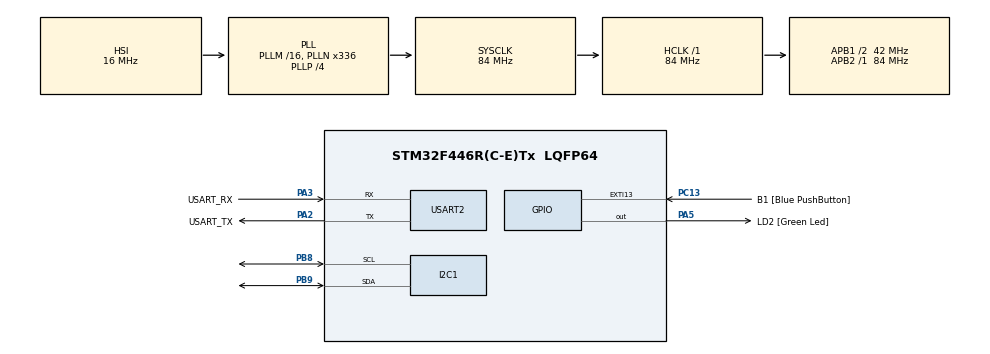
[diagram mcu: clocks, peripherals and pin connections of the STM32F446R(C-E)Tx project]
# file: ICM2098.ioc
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Mcu.Family=STM32F4
Mcu.Name=STM32F446R(C-E)Tx
Mcu.Package=LQFP64
NVIC.PriorityGroup=NVIC_PRIORITYGROUP_0
PA13.GPIO_Label=TMS
PA13.Mode=Serial_Wire
PA13.Signal=SYS_JTMS-SWDIO
PA14.GPIO_Label=TCK
PA14.Mode=Serial_Wire
PA14.Signal=SYS_JTCK-SWCLK
PA2.GPIO_Label=USART_TX
PA2.Mode=Asynchronous
PA2.Signal=USART2_TX
PA3.GPIO_Label=USART_RX
PA3.Mode=Asynchronous
PA3.Signal=USART2_RX
PA5.GPIO_Label=LD2 [Green Led]
PA5.Signal=GPIO_Output
PB3.GPIO_Label=SWO
PB3.Signal=SYS_JTDO-SWO
PB8.Mode=I2C
PB8.Signal=I2C1_SCL
PB9.Mode=I2C
PB9.Signal=I2C1_SDA
PC13.GPIO_Label=B1 [Blue PushButton]
PC13.GPIO_ModeDefaultEXTI=GPIO_MODE_IT_FALLING
PC13.Signal=GPXTI13
PC14-OSC32_IN.Mode=LSE-External-Oscillator
PC14-OSC32_IN.Signal=RCC_OSC32_IN
PC15-OSC32_OUT.Mode=LSE-External-Oscillator
PC15-OSC32_OUT.Signal=RCC_OSC32_OUT
PH0-OSC_IN.Mode=HSE-External-Oscillator
PH0-OSC_IN.Signal=RCC_OSC_IN
PH1-OSC_OUT.Mode=HSE-External-Oscillator
PH1-OSC_OUT.Signal=RCC_OSC_OUT
ProjectManager.HeapSize=0x200
ProjectManager.StackSize=0x400
ProjectManager.TargetToolchain=STM32CubeIDE
RCC.48MHZClocksFreq_Value=84000000
RCC.AHBFreq_Value=84000000
RCC.APB1CLKDivider=RCC_HCLK_DIV2
RCC.APB1Freq_Value=42000000
RCC.APB1TimFreq_Value=84000000
RCC.APB2Freq_Value=84000000
RCC.APB2TimFreq_Value=84000000
RCC.CortexFreq_Value=84000000
RCC.FLatency-AdvancedSettings=FLASH_LATENCY_2
RCC.HCLKFreq_Value=84000000
RCC.HSE_VALUE=8000000
RCC.HSI_VALUE=16000000
RCC.PLLN=336
RCC.PLLP=RCC_PLLP_DIV4
RCC.SYSCLKFreq_VALUE=84000000
RCC.SYSCLKSource=RCC_SYSCLKSOURCE_PLLCLK
RCC.USBFreq_Value=168000000
RCC.VCOOutputFreq_Value=336000000
USART2.VirtualMode=VM_ASYNC
board=NUCLEO-F446RE

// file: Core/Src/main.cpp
/* USER CODE BEGIN Header */
/**
  ******************************************************************************
  * @file           : main.c
  * @brief          : Main program body
  ******************************************************************************
  * @attention
  *
  * Copyright (c) 2025 STMicroelectronics.
  * All rights reserved.
  *
  * This software is licensed under terms that can be found in the LICENSE file
  * in the root directory of this software component.
  * If no LICENSE file comes with this software, it is provided AS-IS.
  *
  ******************************************************************************
  */
/* USER CODE END Header */
#include "main.h"

/* USER CODE BEGIN Includes */
#include "ICM2098.hpp"
#include <cstdio>
#include <string.h>
/* USER CODE END Includes */

I2C_HandleTypeDef hi2c1;

UART_HandleTypeDef huart2;

void SystemClock_Config(void);
static void MX_GPIO_Init(void);
static void MX_USART2_UART_Init(void);
static void MX_I2C1_Init(void);

int main(void)
{

  /* MCU Configuration--------------------------------------------------------*/

  /* Reset of all peripherals, Initializes the Flash interface and the Systick. */
  HAL_Init();

  /* Configure the system clock */
  SystemClock_Config();

  /* Initialize all configured peripherals */
  MX_GPIO_Init();
  MX_USART2_UART_Init();
  MX_I2C1_Init();
  /* USER CODE BEGIN 2 */
  char MSG[30];
  ICM2098 imu(&hi2c1, ICM2098_ADDR_AD0_HIGH);

  if (imu.init(true))
  {
	  snprintf(MSG, sizeof(MSG), "Init success");
	  HAL_UART_Transmit(&huart2, (uint8_t*)MSG, strlen(MSG), 100);
  }

  float acc[3], gyro[3];

  imu.setAccRange(FS_plus_minus_16G);
  /* USER CODE END 2 */

  /* Infinite loop */
  /* USER CODE BEGIN WHILE */
  while (1)
  {
	  imu.readAccel(&acc[0], &acc[1], &acc[2]);
	  imu.readGyro(&gyro[0], &gyro[1], &gyro[2]);

	  // ACC
	  snprintf(MSG, sizeof(MSG), "Accel X: %+05.3f °\r\n", acc[0]);
	  HAL_UART_Transmit(&huart2, (uint8_t*)MSG, strlen(MSG), 100);
	  snprintf(MSG, sizeof(MSG), "Accel Y: %+05.3f °\r\n", acc[1]);
	  HAL_UART_Transmit(&huart2, (uint8_t*)MSG, strlen(MSG), 100);
	  snprintf(MSG, sizeof(MSG), "Accel Z: %+05.3f °\r\n", acc[2]);
	  HAL_UART_Transmit(&huart2, (uint8_t*)MSG, strlen(MSG), 100);

	  // GYRO
	  snprintf(MSG, sizeof(MSG), "Gyro X: %+05.3f °\r\n", gyro[0]);
	  HAL_UART_Transmit(&huart2, (uint8_t*)MSG, strlen(MSG), 100);
	  snprintf(MSG, sizeof(MSG), "Gyro Y: %+05.3f °\r\n", gyro[1]);
	  HAL_UART_Transmit(&huart2, (uint8_t*)MSG, strlen(MSG), 100);
	  snprintf(MSG, sizeof(MSG), "Gyro Z: %+05.3f °\r\n", gyro[2]);
	  HAL_UART_Transmit(&huart2, (uint8_t*)MSG, strlen(MSG), 100);

	  HAL_Delay(100);

	  snprintf(MSG, sizeof(MSG), "\033[H\033[J"); // clear screen
	  HAL_UART_Transmit(&huart2, (uint8_t*)MSG, strlen(MSG), 100);

	  /* USER CODE END WHILE */

  }
}

void SystemClock_Config(void)
{
  RCC_OscInitTypeDef RCC_OscInitStruct = {0};
  RCC_ClkInitTypeDef RCC_ClkInitStruct = {0};

  /** Configure the main internal regulator output voltage
  */
  __HAL_RCC_PWR_CLK_ENABLE();
  __HAL_PWR_VOLTAGESCALING_CONFIG(PWR_REGULATOR_VOLTAGE_SCALE3);

  /** Initializes the RCC Oscillators according to the specified parameters
  * in the RCC_OscInitTypeDef structure.
  */
  RCC_OscInitStruct.OscillatorType = RCC_OSCILLATORTYPE_HSI;
  RCC_OscInitStruct.HSIState = RCC_HSI_ON;
  RCC_OscInitStruct.HSICalibrationValue = RCC_HSICALIBRATION_DEFAULT;
  RCC_OscInitStruct.PLL.PLLState = RCC_PLL_ON;
  RCC_OscInitStruct.PLL.PLLSource = RCC_PLLSOURCE_HSI;
  RCC_OscInitStruct.PLL.PLLM = 16;
  RCC_OscInitStruct.PLL.PLLN = 336;
  RCC_OscInitStruct.PLL.PLLP = RCC_PLLP_DIV4;
  RCC_OscInitStruct.PLL.PLLQ = 2;
  RCC_OscInitStruct.PLL.PLLR = 2;
  if (HAL_RCC_OscConfig(&RCC_OscInitStruct) != HAL_OK)
  {
    Error_Handler();
  }

  /** Initializes the CPU, AHB and APB buses clocks
  */
  RCC_ClkInitStruct.ClockType = RCC_CLOCKTYPE_HCLK|RCC_CLOCKTYPE_SYSCLK
                              |RCC_CLOCKTYPE_PCLK1|RCC_CLOCKTYPE_PCLK2;
  RCC_ClkInitStruct.SYSCLKSource = RCC_SYSCLKSOURCE_PLLCLK;
  RCC_ClkInitStruct.AHBCLKDivider = RCC_SYSCLK_DIV1;
  RCC_ClkInitStruct.APB1CLKDivider = RCC_HCLK_DIV2;
  RCC_ClkInitStruct.APB2CLKDivider = RCC_HCLK_DIV1;

  if (HAL_RCC_ClockConfig(&RCC_ClkInitStruct, FLASH_LATENCY_2) != HAL_OK)
  {
    Error_Handler();
  }
}

static void MX_I2C1_Init(void)
{

  hi2c1.Instance = I2C1;
  hi2c1.Init.ClockSpeed = 100000;
  hi2c1.Init.DutyCycle = I2C_DUTYCYCLE_2;
  hi2c1.Init.OwnAddress1 = 0;
  hi2c1.Init.AddressingMode = I2C_ADDRESSINGMODE_7BIT;
  hi2c1.Init.DualAddressMode = I2C_DUALADDRESS_DISABLE;
  hi2c1.Init.OwnAddress2 = 0;
  hi2c1.Init.GeneralCallMode = I2C_GENERALCALL_DISABLE;
  hi2c1.Init.NoStretchMode = I2C_NOSTRETCH_DISABLE;
  if (HAL_I2C_Init(&hi2c1) != HAL_OK)
  {
    Error_Handler();
  }

}

static void MX_USART2_UART_Init(void)
{

  huart2.Instance = USART2;
  huart2.Init.BaudRate = 115200;
  huart2.Init.WordLength = UART_WORDLENGTH_8B;
  huart2.Init.StopBits = UART_STOPBITS_1;
  huart2.Init.Parity = UART_PARITY_NONE;
  huart2.Init.Mode = UART_MODE_TX_RX;
  huart2.Init.HwFlowCtl = UART_HWCONTROL_NONE;
  huart2.Init.OverSampling = UART_OVERSAMPLING_16;
  if (HAL_UART_Init(&huart2) != HAL_OK)
  {
    Error_Handler();
  }

}

static void MX_GPIO_Init(void)
{
  GPIO_InitTypeDef GPIO_InitStruct = {0};

  /* GPIO Ports Clock Enable */
  __HAL_RCC_GPIOC_CLK_ENABLE();
  __HAL_RCC_GPIOH_CLK_ENABLE();
  __HAL_RCC_GPIOA_CLK_ENABLE();
  __HAL_RCC_GPIOB_CLK_ENABLE();

  /*Configure GPIO pin Output Level */
  HAL_GPIO_WritePin(LD2_GPIO_Port, LD2_Pin, GPIO_PIN_RESET);

  /*Configure GPIO pin : B1_Pin */
  GPIO_InitStruct.Pin = B1_Pin;
  GPIO_InitStruct.Mode = GPIO_MODE_IT_FALLING;
  GPIO_InitStruct.Pull = GPIO_NOPULL;
  HAL_GPIO_Init(B1_GPIO_Port, &GPIO_InitStruct);

  /*Configure GPIO pin : LD2_Pin */
  GPIO_InitStruct.Pin = LD2_Pin;
  GPIO_InitStruct.Mode = GPIO_MODE_OUTPUT_PP;
  GPIO_InitStruct.Pull = GPIO_NOPULL;
  GPIO_InitStruct.Speed = GPIO_SPEED_FREQ_LOW;
  HAL_GPIO_Init(LD2_GPIO_Port, &GPIO_InitStruct);

}

void Error_Handler(void)
{
  __disable_irq();
  while (1)
  {
  }
}
